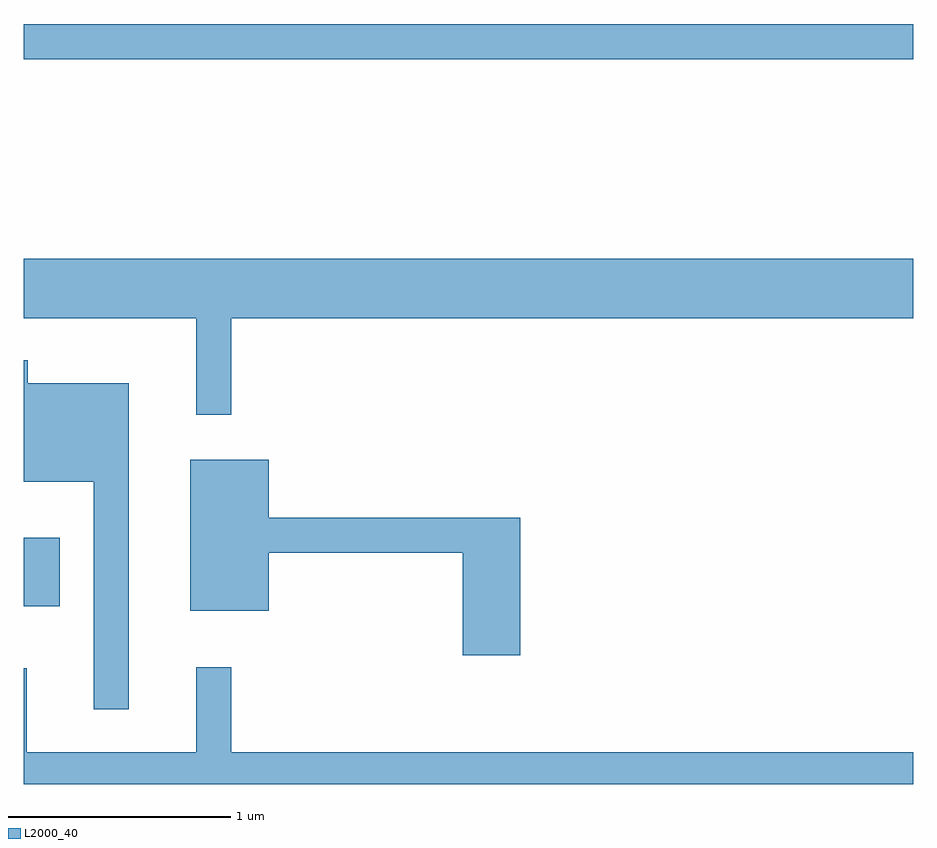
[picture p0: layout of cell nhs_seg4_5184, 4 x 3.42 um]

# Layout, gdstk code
import gdstk
lib = gdstk.Library(unit=1e-6, precision=1e-09)
def R(c, l, rs):  # rectangles x0, y0, x1, y1
    for r in rs: c.add(gdstk.rectangle(r[:2], r[2:], *l))
def P(c, l, *ps):  # polygons
    for p in ps: c.add(gdstk.Polygon(p, *l))
L2000_40 = (2000, 40)

nhs_seg4_5184 = lib.new_cell('nhs_seg4_5184')
R(nhs_seg4_5184, L2000_40, [(337.611,1286.781,337.774,1287.089), (337.611,1289.241,341.611,1289.399)])
P(nhs_seg4_5184, L2000_40, [(338.544,1288.076),(341.611,1288.076),(341.611,1288.344),(337.611,1288.344),(337.611,1288.076),(338.386,1288.076),(338.386,1287.643),(338.544,1287.643)],
  [(338.084,1287.784),(337.629,1287.784),(337.629,1287.888),(337.611,1287.888),(337.611,1287.341),(337.926,1287.341),(337.926,1286.318),(338.084,1286.318)],
  [(339.844,1287.179),(338.714,1287.179),(338.714,1287.439),(338.361,1287.439),(338.361,1286.761),(338.714,1286.761),(338.714,1287.021),(339.586,1287.021),(339.586,1286.561),(339.844,1286.561)],
  [(341.611,1286.124),(338.544,1286.124),(338.544,1286.508),(338.386,1286.508),(338.386,1286.124),(337.624,1286.124),(337.624,1286.503),(337.611,1286.503),(337.611,1285.982),(341.611,1285.982)])

lib.write_gds('nhs_seg4_5184.gds')
